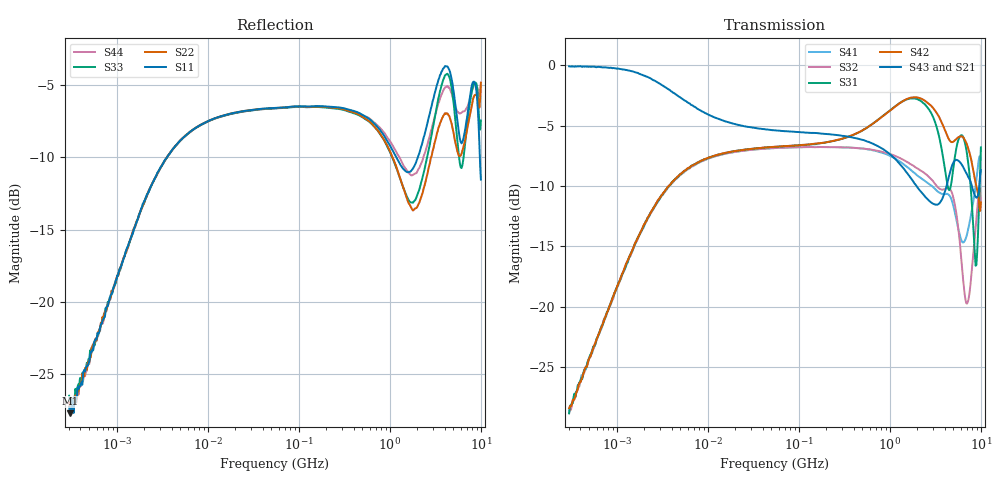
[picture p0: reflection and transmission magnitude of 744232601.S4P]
! This data is being provided by Wuerth Elektronik eiSos GmbH & Co. KG to the industry for analysis.
! Document information:
! Version:rev19a Date: 16/12/2019
! Component information:
! Match Code: WE-CNSW P/N: 744232601 Size: 1206
! Disclaimer:  While Würth Elektronik eiSos has made every reasonable effort to ensure the accuracy
! of the information provided, Würth Elektronik eiSos does not guarantee the exemption of error on the
! data collection measurements, nor does Würth Elektronik eiSos guarantee that the information is current.
! Würth Elektronik eiSos reserves the right to make any adjustments at any time without notice.
! Würth Elektronik eiSos expressly disclaims all implied warranties regarding this measurement data collection.
! Note 1  This data measurement is representative according to the product implementation into the fixture.
! Component behavior is sensitive to implementation into the fixture, which includes board
! materials, trace geometry information, connector pin out, layer connection, use of de-embedding
! techniques, etc.
! Note 2 - The fixture was designed specifically to match the 50 Ohm line impedance, as well as the connector impedance,
! in order to accomplish a reliable measurement without reflections in the trace. Any other implementation of the fixture will change the obtained
! measurement performance. The used fixture behavior was de-embedded to accomplish reliable measurement results.
! The test setup consisted of the following:
!  - Agilent VNA E5071C or E5071B
!  - Calibrations are SOLT (short open load thru)
!  - De-embedding of the SMA's or line cards were included
!  - Equipment Settings -
!  - Sampling - 501 points
!  - IF BW  70 kHz
!  - Averaging  Not used
!  Port 1----->|1|  |2| -----> Port 3
!  |  DUT  |
!  Port 2----->|3|  |4| -----> Port 4
!*VNA Port --> |Port in Datasheet|
! |Port in Datasheet| --> VNA Port
! For further information regarding this testing, please contact
! Wuerth Elektronik eiSos
! Contact: EDA team in QDC
! Email: libraries@we-online.com or libraries@we-online.de
# Hz S dB R 50
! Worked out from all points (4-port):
!   501 points, 300 kHz to 10 GHz, reference 50 ohm
!   strongest paths, dB at 300 kHz, 4.054 MHz, 54.77 MHz, 740.1 MHz, 10 GHz:
!     S43: -0.1, -2.2, -5.4, -6.7, -8.7
!     S21: -0.1, -2.2, -5.4, -6.7, -8.0
!     S42: -28.4, -9.7, -6.7, -4.5, -11.3
!     S31: -28.8, -9.7, -6.7, -4.5, -6.8
!     S32: -28.8, -9.7, -6.8, -7.1, -11.5
!     S41: -28.7, -9.7, -6.8, -7.1, -7.7
!   lowest |S11| = -27.7 dB at 307.3 kHz (marker M1), VSWR 1.09, Z = 50.7 + j4.09 ohm
!   |S11| at or under -10 dB: start of sweep to 3.552 MHz; 1.177 GHz to 2.024 GHz (847 MHz wide, 52.9 % of centre); 9.746 GHz to end of sweep
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300000  -27.27 77.7  -0.08 -2.1  -28.66 84.8  -28.48 -96.8
        -0.08 -2.4  -26.95 86.9  -28.68 -95.1  -28.36 81.0
        -28.84 84.8  -28.82 -93.0  -26.50 87.0  -0.08 -2.3
        -28.72 -96.9  -28.41 84.8  -0.07 -2.5  -27.00 86.6
307335  -27.72 78.2  -0.10 -2.4  -28.38 82.7  -28.71 -95.9
        -0.11 -2.2  -27.49 77.1  -28.48 -97.2  -28.45 85.3
        -28.23 84.7  -28.33 -95.7  -27.06 82.3  -0.10 -2.1
        -28.36 -94.0  -28.22 84.8  -0.08 -2.3  -26.98 81.6
7731423  -7.87 25.0  -3.59 -15.6  -8.02 25.8  -8.07 -155.0
         -3.60 -15.5  -7.86 24.9  -8.11 -154.9  -8.02 25.9
         -8.05 25.9  -8.10 -155.0  -7.90 25.1  -3.58 -15.6
         -8.11 -155.0  -8.04 25.9  -3.61 -15.6  -7.90 25.0
1.617458e9  -11.02 -7.6  -9.08 -108.8  -2.76 -13.8  -8.51 74.4
            -9.09 -108.8  -13.19 -22.6  -8.09 65.4  -2.72 -12.3
            -2.77 -13.8  -8.08 65.4  -12.98 -11.5  -9.10 -106.6
            -8.52 74.3  -2.72 -12.3  -9.10 -106.6  -11.07 -12.5
4.586479e9  -4.09 -39.1  -8.56 82.9  -10.26 -40.3  -10.86 -69.6
            -8.57 83.2  -7.32 -20.8  -10.15 -61.2  -6.29 -57.4
            -10.24 -40.4  -10.26 -61.3  -4.60 -30.1  -8.86 90.8
            -10.86 -69.6  -6.27 -57.5  -8.85 90.9  -5.28 -19.7
6.130148e9  -9.03 -45.5  -7.97 2.7  -5.79 -54.9  -14.48 176.0
            -7.99 3.2  -9.74 -27.1  -16.01 -155.3  -5.88 -70.9
            -5.78 -55.0  -16.27 -155.5  -10.74 -45.1  -8.20 6.9
            -14.52 176.0  -5.89 -71.3  -8.20 6.9  -6.91 -32.7
1e10  -11.53 -105.0  -8.02 -162.3  -6.78 -34.6  -7.72 -27.9
      -8.05 -161.5  -4.82 -34.8  -11.18 -38.9  -11.40 -100.6
      -6.79 -34.3  -11.48 -39.7  -7.45 -57.8  -8.71 -169.2
      -7.74 -28.0  -11.35 -99.8  -8.68 -168.9  -5.00 -53.7
